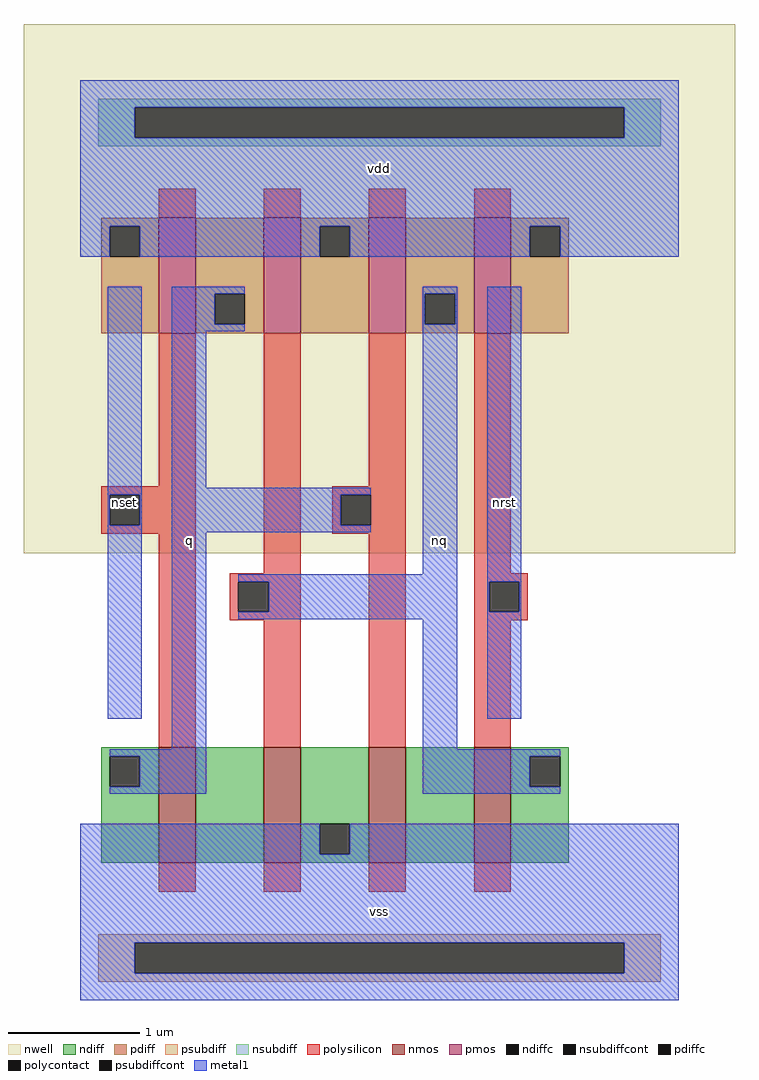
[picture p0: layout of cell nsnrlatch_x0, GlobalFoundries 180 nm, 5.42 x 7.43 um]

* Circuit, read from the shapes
.subckt nsnrlatch_x0 q vdd vss nset nq nrst
XM1 n1 nset q vss nfet_03v3 w=0.88u l=0.28u
XM2 vss nq n1 vss nfet_03v3 w=0.88u l=0.28u
XM3 n2 q vss vss nfet_03v3 w=0.88u l=0.28u
XM4 nq nrst n2 vss nfet_03v3 w=0.88u l=0.28u
XM5 q nset vdd vdd pfet_03v3 w=0.88u l=0.28u
XM6 vdd nq q vdd pfet_03v3 w=0.88u l=0.28u
XM7 nq q vdd vdd pfet_03v3 w=0.88u l=0.28u
XM8 vdd nrst nq vdd pfet_03v3 w=0.88u l=0.28u
.ends

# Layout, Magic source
magic
tech gf180mcuD
magscale 1 10
<< nwell >>
rect -86 680 998 1486
<< nmos >>
rect 120 209 176 385
rect 280 209 336 385
rect 440 209 496 385
rect 600 209 656 385
<< pmos >>
rect 120 1015 176 1191
rect 280 1015 336 1191
rect 440 1015 496 1191
rect 600 1015 656 1191
<< ndiff >>
rect 32 371 120 385
rect 32 325 45 371
rect 91 325 120 371
rect 32 209 120 325
rect 176 209 280 385
rect 336 268 440 385
rect 336 222 365 268
rect 411 222 440 268
rect 336 209 440 222
rect 496 209 600 385
rect 656 371 744 385
rect 656 325 685 371
rect 731 325 744 371
rect 656 209 744 325
<< pdiff >>
rect 32 1178 120 1191
rect 32 1132 45 1178
rect 91 1132 120 1178
rect 32 1015 120 1132
rect 176 1075 280 1191
rect 176 1029 205 1075
rect 251 1029 280 1075
rect 176 1015 280 1029
rect 336 1178 440 1191
rect 336 1132 365 1178
rect 411 1132 440 1178
rect 336 1015 440 1132
rect 496 1075 600 1191
rect 496 1029 525 1075
rect 571 1029 600 1075
rect 496 1015 600 1029
rect 656 1178 744 1191
rect 656 1132 685 1178
rect 731 1132 744 1178
rect 656 1015 744 1132
<< ndiffc >>
rect 45 325 91 371
rect 365 222 411 268
rect 685 325 731 371
<< pdiffc >>
rect 45 1132 91 1178
rect 205 1029 251 1075
rect 365 1132 411 1178
rect 525 1029 571 1075
rect 685 1132 731 1178
<< psubdiff >>
rect 28 87 884 100
rect 28 41 83 87
rect 829 41 884 87
rect 28 28 884 41
<< nsubdiff >>
rect 28 1359 884 1372
rect 28 1313 83 1359
rect 829 1313 884 1359
rect 28 1300 884 1313
<< psubdiffcont >>
rect 83 41 829 87
<< nsubdiffcont >>
rect 83 1313 829 1359
<< polysilicon >>
rect 120 1191 176 1235
rect 280 1191 336 1235
rect 440 1191 496 1235
rect 600 1191 656 1235
rect 120 782 176 1015
rect 32 769 176 782
rect 32 723 45 769
rect 91 723 176 769
rect 32 710 176 723
rect 120 385 176 710
rect 280 650 336 1015
rect 440 782 496 1015
rect 384 769 496 782
rect 384 723 397 769
rect 443 723 496 769
rect 384 710 496 723
rect 228 637 336 650
rect 228 591 241 637
rect 287 591 336 637
rect 228 578 336 591
rect 280 385 336 578
rect 440 385 496 710
rect 600 650 656 1015
rect 600 637 682 650
rect 600 591 623 637
rect 669 591 682 637
rect 600 578 682 591
rect 600 385 656 578
rect 120 165 176 209
rect 280 165 336 209
rect 440 165 496 209
rect 600 165 656 209
<< polycontact >>
rect 45 723 91 769
rect 397 723 443 769
rect 241 591 287 637
rect 623 591 669 637
<< metal1 >>
rect 0 1359 912 1400
rect 0 1313 83 1359
rect 829 1313 912 1359
rect 0 1178 912 1313
rect 0 1132 45 1178
rect 91 1132 365 1178
rect 411 1132 685 1178
rect 731 1132 912 1178
rect 42 769 94 1086
rect 42 723 45 769
rect 91 723 94 769
rect 42 428 94 723
rect 140 1075 251 1086
rect 140 1029 205 1075
rect 140 1018 251 1029
rect 522 1075 574 1086
rect 522 1029 525 1075
rect 571 1029 574 1075
rect 140 780 192 1018
rect 140 769 443 780
rect 140 723 397 769
rect 140 712 443 723
rect 140 382 192 712
rect 522 648 574 1029
rect 241 637 574 648
rect 287 591 574 637
rect 241 580 574 591
rect 45 371 192 382
rect 91 325 192 371
rect 45 314 192 325
rect 522 382 574 580
rect 620 637 672 1086
rect 620 591 623 637
rect 669 591 672 637
rect 620 428 672 591
rect 522 371 731 382
rect 522 325 685 371
rect 522 314 731 325
rect 0 222 365 268
rect 411 222 912 268
rect 0 87 912 222
rect 0 41 83 87
rect 829 41 912 87
rect 0 0 912 41
<< labels >>
rlabel metal1 s 140 314 192 1086 4 q
port 3 nsew
rlabel metal1 s 0 1132 912 1400 4 vdd
port 5 nsew
rlabel metal1 s 0 0 912 268 4 vss
port 7 nsew
rlabel metal1 s 42 428 94 1086 4 nset
port 9 nsew
rlabel metal1 s 522 314 574 1086 4 nq
port 11 nsew
rlabel metal1 s 620 428 672 1086 4 nrst
port 13 nsew
<< end >>
